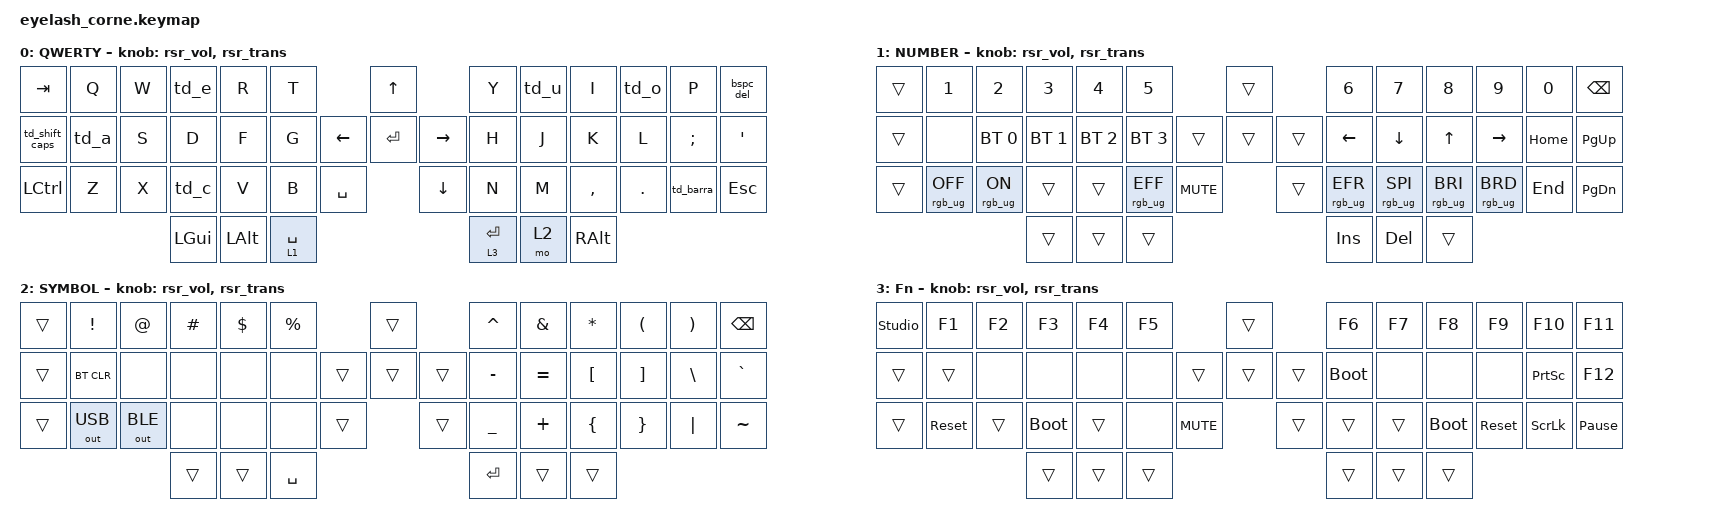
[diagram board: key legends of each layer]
#define ZMK_POINTING_DEFAULT_MOVE_VAL 1200  // 600
#define ZMK_POINTING_DEFAULT_SCRL_VAL 25   // 10

#include <input/processors.dtsi>
#include <zephyr/dt-bindings/input/input-event-codes.h>
#include <behaviors/runtime-sensor-rotate.dtsi>
#include <behaviors.dtsi>
#include <dt-bindings/zmk/bt.h>
#include <dt-bindings/zmk/keys.h>
#include <dt-bindings/zmk/outputs.h>
#include <dt-bindings/zmk/pointing.h>
#include <dt-bindings/zmk/rgb.h>

&soft_off { hold-time-ms = <2000>; };

/ {
    behaviors {
        td_shift_caps: td_shift_caps {
            compatible = "zmk,behavior-tap-dance";
            display-name = "Shift/Caps Lock Tap Dance";
            #binding-cells = <0>;
            bindings = <&kp LEFT_SHIFT>, <&kp CAPS>;
        };

        // Acentos: pensados para o layout ABNT2 (Portugues Brasil) no sistema
        m_a_til: m_a_til {
            compatible = "zmk,behavior-macro";
            #binding-cells = <0>;
            wait-ms = <0>;
            tap-ms = <10>;
            bindings = <&macro_tap &kp SQT &kp A>;   // ABNT2: tecla do ' e o til morto
        };

        m_c_cedilha: m_c_cedilha {
            compatible = "zmk,behavior-macro";
            #binding-cells = <0>;
            wait-ms = <0>;
            tap-ms = <10>;
            bindings = <&macro_tap &kp SEMI>;        // ABNT2: tecla do ; ja e o c cedilha
        };

        m_e_agudo: m_e_agudo {
            compatible = "zmk,behavior-macro";
            #binding-cells = <0>;
            wait-ms = <0>;
            tap-ms = <10>;
            bindings = <&macro_tap &kp LBKT &kp E>;  // ABNT2: tecla do [ e o agudo morto
        };

        td_a: td_a {
            compatible = "zmk,behavior-tap-dance";
            display-name = "A ou A til";
            #binding-cells = <0>;
            tapping-term-ms = <200>;
            bindings = <&kp A>, <&m_a_til>;
        };

        td_c: td_c {
            compatible = "zmk,behavior-tap-dance";
            display-name = "C ou C cedilha";
            #binding-cells = <0>;
            tapping-term-ms = <200>;
            bindings = <&kp C>, <&m_c_cedilha>;
        };

        td_e: td_e {
            compatible = "zmk,behavior-tap-dance";
            display-name = "E ou E agudo";
            #binding-cells = <0>;
            tapping-term-ms = <200>;
            bindings = <&kp E>, <&m_e_agudo>;
        };

        m_u_agudo: m_u_agudo {
            compatible = "zmk,behavior-macro";
            #binding-cells = <0>;
            wait-ms = <0>;
            tap-ms = <10>;
            bindings = <&macro_tap &kp LBKT &kp U>;  // ABNT2: agudo morto + u
        };

        m_o_til: m_o_til {
            compatible = "zmk,behavior-macro";
            #binding-cells = <0>;
            wait-ms = <0>;
            tap-ms = <10>;
            bindings = <&macro_tap &kp SQT &kp O>;   // ABNT2: til morto + o
        };

        td_u: td_u {
            compatible = "zmk,behavior-tap-dance";
            display-name = "U ou U agudo";
            #binding-cells = <0>;
            tapping-term-ms = <200>;
            bindings = <&kp U>, <&m_u_agudo>;
        };

        td_o: td_o {
            compatible = "zmk,behavior-tap-dance";
            display-name = "O ou O til";
            #binding-cells = <0>;
            tapping-term-ms = <200>;
            bindings = <&kp O>, <&m_o_til>;
        };

        td_barra: td_barra {
            compatible = "zmk,behavior-tap-dance";
            display-name = "Barra ou Interrogacao";
            #binding-cells = <0>;
            tapping-term-ms = <200>;
            bindings = <&kp KP_DIVIDE>, <&kp RA(W)>;  // / do numpad (qualquer layout) e AltGr+W = ? no ABNT/ABNT2
        };

        bspc_del: bspc_del {
            compatible = "zmk,behavior-mod-morph";
            display-name = "Backspace ou Delete";
            #binding-cells = <0>;
            bindings = <&kp BSPC>, <&kp DEL>;
            mods = <(MOD_LSFT|MOD_RSFT)>;
        };

        rsr_vol: rsr_vol {
            compatible = "zmk,behavior-runtime-sensor-rotate";
            #sensor-binding-cells = <0>;
            tap-ms = <5>;
            cw-binding = <&kp C_VOL_UP>;
            ccw-binding = <&kp C_VOL_DN>;
        };

        rsr_trans: rsr_trans {
            compatible = "zmk,behavior-runtime-sensor-rotate";
            #sensor-binding-cells = <0>;
            tap-ms = <0>;
        };
    };

    combos {
        compatible = "zmk,combos";

        softoff {
            bindings = <&soft_off>;
            key-positions = <1 15 29>;
        };
    };

    keymap {
        compatible = "zmk,keymap";

        default_layer {
            display-name = "QWERTY";
            bindings = <
&kp TAB         &kp Q  &kp W  &td_e     &kp R         &kp T                             &kp UP                &kp Y      &td_u  &kp I      &td_o    &kp P     &bspc_del
&td_shift_caps  &td_a  &kp S  &kp D     &kp F         &kp G                   &kp LEFT  &kp ENTER  &kp RIGHT  &kp H      &kp J  &kp K      &kp L    &kp SEMI  &kp SQT
&kp LCTRL       &kp Z  &kp X  &td_c     &kp V         &kp B      &kp SPACE              &kp DOWN              &kp N      &kp M  &kp COMMA  &kp DOT  &td_barra &kp ESC
                              &kp LGUI  &kp LEFT_ALT  &lt 1 SPACE                                             &lt 3 ENTER  &mo 2  &kp RALT
            >;

            sensor-bindings = <&rsr_vol &rsr_trans>;
        };

        lower_layer {
            display-name = "NUMBER";
            bindings = <
&trans  &kp N1           &kp N2          &kp N3        &kp N4        &kp N5                                         &trans                           &kp N6           &kp N7           &kp N8           &kp N9           &kp N0    &kp BSPC
&trans  &none            &bt BT_SEL 0    &bt BT_SEL 1  &bt BT_SEL 2  &bt BT_SEL 3                   &trans          &trans          &trans           &kp LEFT         &kp DOWN         &kp UP           &kp RIGHT        &kp HOME  &kp PG_UP
&trans  &rgb_ug RGB_OFF  &rgb_ug RGB_ON  &trans        &trans        &rgb_ug RGB_EFF  &kp C_MUTE                    &trans                           &rgb_ug RGB_EFR  &rgb_ug RGB_SPI  &rgb_ug RGB_BRI  &rgb_ug RGB_BRD  &kp END   &kp PG_DN
                                         &trans        &trans        &trans                                                                          &kp INS          &kp DEL          &trans
            >;

            sensor-bindings = <&rsr_vol &rsr_trans>;
        };

        raise_layer {
            display-name = "SYMBOL";
            bindings = <
&trans  &kp EXCL      &kp AT        &kp HASH   &kp DLLR   &kp PRCNT                            &trans                           &kp CARET  &kp AMPS   &kp ASTRK  &kp LPAR  &kp RPAR  &kp BSPC
&trans  &bt BT_CLR    &none         &none      &none      &none                &trans          &trans          &trans           &kp MINUS  &kp EQUAL  &kp LBKT   &kp RBKT  &kp BSLH  &kp GRAVE
&trans  &out OUT_USB  &out OUT_BLE  &none      &none      &none      &trans                    &trans                           &kp UNDER  &kp PLUS   &kp LBRC   &kp RBRC  &kp PIPE  &kp TILDE
                                    &trans     &trans     &kp SPACE                                                             &kp RET    &trans     &trans
            >;

            sensor-bindings = <&rsr_vol &rsr_trans>;
        };

        layer_3 {
            display-name = "Fn";
            bindings = <
&studio_unlock  &kp F1      &kp F2     &kp F3       &kp F4     &kp F5                                  &trans                           &kp F6       &kp F7     &kp F8       &kp F9      &kp F10          &kp F11
&trans          &trans      &none      &none        &none      &none                   &trans          &trans          &trans           &bootloader  &none      &none        &none       &kp PRINTSCREEN  &kp F12
&trans          &sys_reset  &trans     &bootloader  &trans     &none     &kp C_MUTE                    &trans                           &trans       &trans     &bootloader  &sys_reset  &kp SCROLLLOCK   &kp PAUSE_BREAK
                                       &trans       &trans     &trans                                                                   &trans       &trans     &trans
            >;

            sensor-bindings = <&rsr_vol &rsr_trans>;
        };
    };
};
